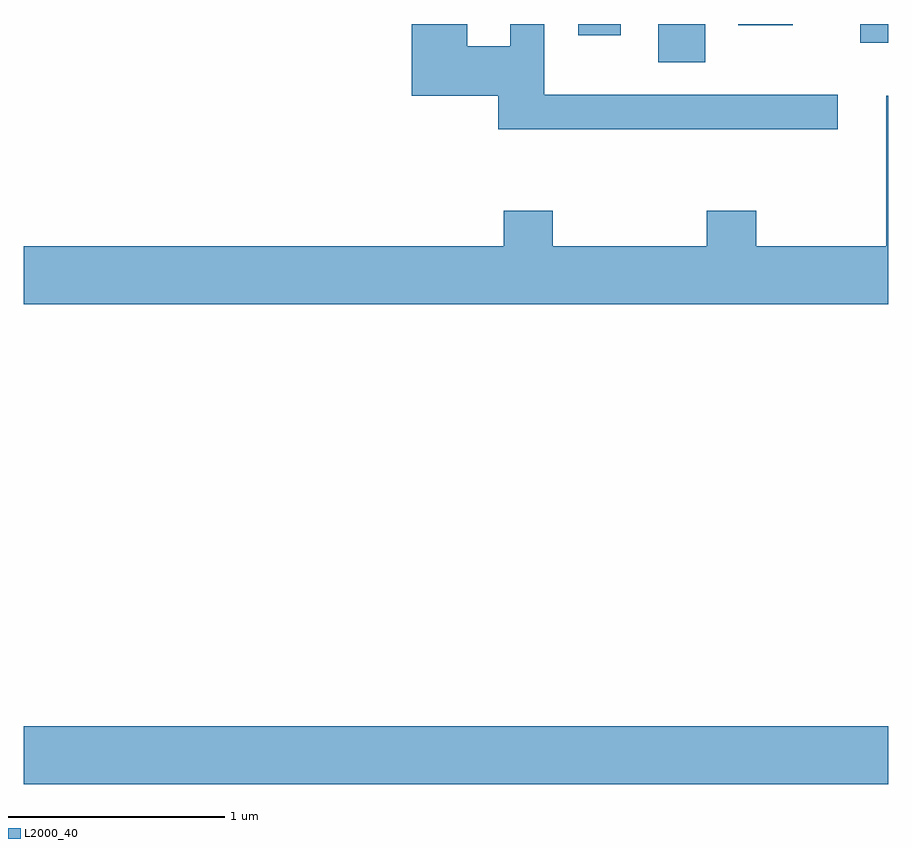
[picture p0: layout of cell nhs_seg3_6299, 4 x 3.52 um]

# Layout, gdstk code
import gdstk
lib = gdstk.Library(unit=1e-6, precision=1e-09)
def R(c, l, rs):  # rectangles x0, y0, x1, y1
    for r in rs: c.add(gdstk.rectangle(r[:2], r[2:], *l))
def P(c, l, *ps):  # polygons
    for p in ps: c.add(gdstk.Polygon(p, *l))
L2000_40 = (2000, 40)

nhs_seg3_6299 = lib.new_cell('nhs_seg3_6299')
R(nhs_seg3_6299, L2000_40, [(369.611,1210.376,373.611,1210.644), (372.546,1213.716,372.764,1213.892), (373.481,1213.806,373.611,1213.892), (372.176,1213.841,372.374,1213.892), (372.916,1213.886,373.169,1213.892)])
P(nhs_seg3_6299, L2000_40, [(373.378,1213.564),(372.019,1213.564),(372.019,1213.892),(371.861,1213.892),(371.861,1213.789),(371.664,1213.789),(371.664,1213.892),(371.406,1213.892),(371.406,1213.561),(371.806,1213.561),(371.806,1213.406),(373.378,1213.406)],
  [(373.611,1213.559),(373.601,1213.559),(373.601,1212.864),(372.999,1212.864),(372.999,1213.029),(372.771,1213.029),(372.771,1212.864),(372.059,1212.864),(372.059,1213.029),(371.831,1213.029),(371.831,1212.864),(369.611,1212.864),(369.611,1212.596),(373.611,1212.596)])

lib.write_gds('nhs_seg3_6299.gds')
